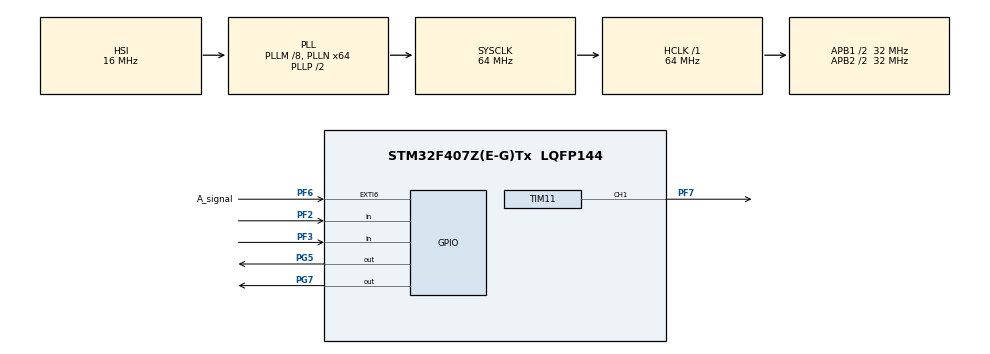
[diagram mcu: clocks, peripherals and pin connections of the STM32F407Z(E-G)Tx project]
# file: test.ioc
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Mcu.Family=STM32F4
Mcu.Name=STM32F407Z(E-G)Tx
Mcu.Package=LQFP144
NVIC.EXTI9_5_IRQn=true\:0\:0\:false\:false\:true\:true\:true\:true
NVIC.PriorityGroup=NVIC_PRIORITYGROUP_4
NVIC.TIM6_DAC_IRQn=true\:0\:0\:false\:false\:true\:true\:true\:true
NVIC.TIM7_IRQn=true\:0\:0\:false\:false\:true\:true\:true\:true
PF2.Signal=GPIO_Input
PF3.Signal=GPIO_Input
PF6.GPIO_Label=A_signal
PF6.Signal=GPXTI6
PF7.Signal=S_TIM11_CH1
PG5.Signal=GPIO_Output
PG7.Signal=GPIO_Output
ProjectManager.HeapSize=0x200
ProjectManager.StackSize=0x400
ProjectManager.TargetToolchain=STM32CubeIDE
RCC.48MHZClocksFreq_Value=32000000
RCC.AHBFreq_Value=64000000
RCC.APB1CLKDivider=RCC_HCLK_DIV2
RCC.APB1Freq_Value=32000000
RCC.APB1TimFreq_Value=64000000
RCC.APB2CLKDivider=RCC_HCLK_DIV2
RCC.APB2Freq_Value=32000000
RCC.APB2TimFreq_Value=64000000
RCC.CortexFreq_Value=64000000
RCC.HCLKFreq_Value=64000000
RCC.HSE_VALUE=25000000
RCC.HSI_VALUE=16000000
RCC.LSE_VALUE=32768
RCC.PLLM=8
RCC.PLLN=64
RCC.SYSCLKFreq_VALUE=64000000
RCC.SYSCLKSource=RCC_SYSCLKSOURCE_PLLCLK
RCC.VCOOutputFreq_Value=128000000
SH.S_TIM11_CH1.0=TIM11_CH1,PWM Generation1 CH1
TIM11.AutoReloadPreload=TIM_AUTORELOAD_PRELOAD_ENABLE
TIM11.Channel=TIM_CHANNEL_1
TIM11.Period=1000
TIM11.Prescaler=3
TIM11.Pulse=500
TIM6.Period=65535
TIM6.Prescaler=15999
TIM7.Period=999
TIM7.Prescaler=6399
VP_TIM11_VS_ClockSourceINT.Mode=Enable_Timer
VP_TIM6_VS_ClockSourceINT.Mode=Enable_Timer
VP_TIM7_VS_ClockSourceINT.Mode=Enable_Timer
board=custom

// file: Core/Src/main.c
/* USER CODE BEGIN Header */
/**
  ******************************************************************************
  * @file           : main.c
  * @brief          : Main program body
  ******************************************************************************
  * @attention
  *
  * Copyright (c) 2023 STMicroelectronics.
  * All rights reserved.
  *
  * This software is licensed under terms that can be found in the LICENSE file
  * in the root directory of this software component.
  * If no LICENSE file comes with this software, it is provided AS-IS.
  *
  ******************************************************************************
  */
/* USER CODE END Header */
#include "main.h"

TIM_HandleTypeDef htim6;
TIM_HandleTypeDef htim7;
TIM_HandleTypeDef htim11;

/* USER CODE BEGIN PV */
int delay_reference=1000;
int delay;
int number_pressed=1;
int statuse;  // 0: idle 1: first  2: second
int t6;
int test_tim7=0;
int number_A=0;
int number_A_sampled=0;
int rpm=0;

/* USER CODE END PV */

void SystemClock_Config(void);
static void MX_GPIO_Init(void);
static void MX_TIM6_Init(void);
static void MX_TIM7_Init(void);
static void MX_TIM11_Init(void);

int main(void)
{
  /* USER CODE BEGIN 1 */

	// External Interrupt ISR Handler CallBackFun

  /* USER CODE END 1 */

  /* MCU Configuration--------------------------------------------------------*/

  /* Reset of all peripherals, Initializes the Flash interface and the Systick. */
  HAL_Init();

  /* Configure the system clock */
  SystemClock_Config();

  /* Initialize all configured peripherals */
  MX_GPIO_Init();
  MX_TIM6_Init();
  MX_TIM7_Init();
  MX_TIM11_Init();
  /* USER CODE BEGIN 2 */
  HAL_TIM_Base_Start_IT(&htim7);
  HAL_GPIO_WritePin(GPIOG,GPIO_PIN_7, GPIO_PIN_RESET);

  HAL_TIM_PWM_Start(&htim11, TIM_CHANNEL_1);

  /* USER CODE END 2 */

  /* Infinite loop */
  /* USER CODE BEGIN WHILE */
  while (1)
  {
	  if(HAL_GPIO_ReadPin(GPIOF,GPIO_PIN_2)){
		  TIM11->CCR1=400;
	  }else if(HAL_GPIO_ReadPin(GPIOF,GPIO_PIN_3)){
		  TIM11->CCR1=700;
	  }
	  rpm=(number_A_sampled*600)/1024;
    /* USER CODE END WHILE */

  }
}

void SystemClock_Config(void)
{
  RCC_OscInitTypeDef RCC_OscInitStruct = {0};
  RCC_ClkInitTypeDef RCC_ClkInitStruct = {0};

  /** Configure the main internal regulator output voltage
  */
  __HAL_RCC_PWR_CLK_ENABLE();
  __HAL_PWR_VOLTAGESCALING_CONFIG(PWR_REGULATOR_VOLTAGE_SCALE1);

  /** Initializes the RCC Oscillators according to the specified parameters
  * in the RCC_OscInitTypeDef structure.
  */
  RCC_OscInitStruct.OscillatorType = RCC_OSCILLATORTYPE_HSI;
  RCC_OscInitStruct.HSIState = RCC_HSI_ON;
  RCC_OscInitStruct.HSICalibrationValue = RCC_HSICALIBRATION_DEFAULT;
  RCC_OscInitStruct.PLL.PLLState = RCC_PLL_ON;
  RCC_OscInitStruct.PLL.PLLSource = RCC_PLLSOURCE_HSI;
  RCC_OscInitStruct.PLL.PLLM = 8;
  RCC_OscInitStruct.PLL.PLLN = 64;
  RCC_OscInitStruct.PLL.PLLP = RCC_PLLP_DIV2;
  RCC_OscInitStruct.PLL.PLLQ = 4;
  if (HAL_RCC_OscConfig(&RCC_OscInitStruct) != HAL_OK)
  {
    Error_Handler();
  }

  /** Initializes the CPU, AHB and APB buses clocks
  */
  RCC_ClkInitStruct.ClockType = RCC_CLOCKTYPE_HCLK|RCC_CLOCKTYPE_SYSCLK
                              |RCC_CLOCKTYPE_PCLK1|RCC_CLOCKTYPE_PCLK2;
  RCC_ClkInitStruct.SYSCLKSource = RCC_SYSCLKSOURCE_PLLCLK;
  RCC_ClkInitStruct.AHBCLKDivider = RCC_SYSCLK_DIV1;
  RCC_ClkInitStruct.APB1CLKDivider = RCC_HCLK_DIV2;
  RCC_ClkInitStruct.APB2CLKDivider = RCC_HCLK_DIV2;

  if (HAL_RCC_ClockConfig(&RCC_ClkInitStruct, FLASH_LATENCY_2) != HAL_OK)
  {
    Error_Handler();
  }
}

static void MX_TIM6_Init(void)
{

  TIM_MasterConfigTypeDef sMasterConfig = {0};

  htim6.Instance = TIM6;
  htim6.Init.Prescaler = 15999;
  htim6.Init.CounterMode = TIM_COUNTERMODE_UP;
  htim6.Init.Period = 65535;
  htim6.Init.AutoReloadPreload = TIM_AUTORELOAD_PRELOAD_DISABLE;
  if (HAL_TIM_Base_Init(&htim6) != HAL_OK)
  {
    Error_Handler();
  }
  sMasterConfig.MasterOutputTrigger = TIM_TRGO_RESET;
  sMasterConfig.MasterSlaveMode = TIM_MASTERSLAVEMODE_DISABLE;
  if (HAL_TIMEx_MasterConfigSynchronization(&htim6, &sMasterConfig) != HAL_OK)
  {
    Error_Handler();
  }

}

static void MX_TIM7_Init(void)
{

  TIM_MasterConfigTypeDef sMasterConfig = {0};

  htim7.Instance = TIM7;
  htim7.Init.Prescaler = 6399;
  htim7.Init.CounterMode = TIM_COUNTERMODE_UP;
  htim7.Init.Period = 999;
  htim7.Init.AutoReloadPreload = TIM_AUTORELOAD_PRELOAD_DISABLE;
  if (HAL_TIM_Base_Init(&htim7) != HAL_OK)
  {
    Error_Handler();
  }
  sMasterConfig.MasterOutputTrigger = TIM_TRGO_RESET;
  sMasterConfig.MasterSlaveMode = TIM_MASTERSLAVEMODE_DISABLE;
  if (HAL_TIMEx_MasterConfigSynchronization(&htim7, &sMasterConfig) != HAL_OK)
  {
    Error_Handler();
  }

}

static void MX_TIM11_Init(void)
{

  TIM_OC_InitTypeDef sConfigOC = {0};

  htim11.Instance = TIM11;
  htim11.Init.Prescaler = 3;
  htim11.Init.CounterMode = TIM_COUNTERMODE_UP;
  htim11.Init.Period = 1000;
  htim11.Init.ClockDivision = TIM_CLOCKDIVISION_DIV1;
  htim11.Init.AutoReloadPreload = TIM_AUTORELOAD_PRELOAD_ENABLE;
  if (HAL_TIM_Base_Init(&htim11) != HAL_OK)
  {
    Error_Handler();
  }
  if (HAL_TIM_PWM_Init(&htim11) != HAL_OK)
  {
    Error_Handler();
  }
  sConfigOC.OCMode = TIM_OCMODE_PWM1;
  sConfigOC.Pulse = 500;
  sConfigOC.OCPolarity = TIM_OCPOLARITY_HIGH;
  sConfigOC.OCFastMode = TIM_OCFAST_DISABLE;
  if (HAL_TIM_PWM_ConfigChannel(&htim11, &sConfigOC, TIM_CHANNEL_1) != HAL_OK)
  {
    Error_Handler();
  }
  HAL_TIM_MspPostInit(&htim11);

}

static void MX_GPIO_Init(void)
{
  GPIO_InitTypeDef GPIO_InitStruct = {0};

  /* GPIO Ports Clock Enable */
  __HAL_RCC_GPIOF_CLK_ENABLE();
  __HAL_RCC_GPIOG_CLK_ENABLE();

  /*Configure GPIO pin Output Level */
  HAL_GPIO_WritePin(GPIOG, GPIO_PIN_5|GPIO_PIN_7, GPIO_PIN_RESET);

  /*Configure GPIO pins : PF2 PF3 */
  GPIO_InitStruct.Pin = GPIO_PIN_2|GPIO_PIN_3;
  GPIO_InitStruct.Mode = GPIO_MODE_INPUT;
  GPIO_InitStruct.Pull = GPIO_NOPULL;
  HAL_GPIO_Init(GPIOF, &GPIO_InitStruct);

  /*Configure GPIO pin : A_signal_Pin */
  GPIO_InitStruct.Pin = A_signal_Pin;
  GPIO_InitStruct.Mode = GPIO_MODE_IT_RISING;
  GPIO_InitStruct.Pull = GPIO_NOPULL;
  HAL_GPIO_Init(A_signal_GPIO_Port, &GPIO_InitStruct);

  /*Configure GPIO pins : PG5 PG7 */
  GPIO_InitStruct.Pin = GPIO_PIN_5|GPIO_PIN_7;
  GPIO_InitStruct.Mode = GPIO_MODE_OUTPUT_PP;
  GPIO_InitStruct.Pull = GPIO_NOPULL;
  GPIO_InitStruct.Speed = GPIO_SPEED_FREQ_LOW;
  HAL_GPIO_Init(GPIOG, &GPIO_InitStruct);

  /* EXTI interrupt init*/
  HAL_NVIC_SetPriority(EXTI9_5_IRQn, 0, 0);
  HAL_NVIC_EnableIRQ(EXTI9_5_IRQn);

}

/* USER CODE BEGIN 4 */
/*
void HAL_GPIO_EXTI_Callback(uint16_t pin)
{

	if(pin == GPIO_PIN_3){
		statuse+=1;

		 if(statuse==1){
			 __HAL_TIM_SET_COUNTER(&htim6, 0);
			 t6=0;
			 HAL_TIM_Base_Start(&htim6);

		 }else if(statuse==2){
			 HAL_TIM_Base_Stop(&htim6);
			 t6=__HAL_TIM_GetCounter(&htim6);
			 statuse=0;
		 }

	}
}
*/
void HAL_TIM_PeriodElapsedCallback(TIM_HandleTypeDef* htim)
{
	if(htim->Instance==TIM7){
		number_A_sampled=number_A;
		number_A=0;
		}
}

void HAL_GPIO_EXTI_Callback(uint16_t pin)
{
	if(pin == GPIO_PIN_6){
		number_A++;
		 }
}

/* USER CODE END 4 */

void Error_Handler(void)
{
  __disable_irq();
  while (1)
  {
  }
}
